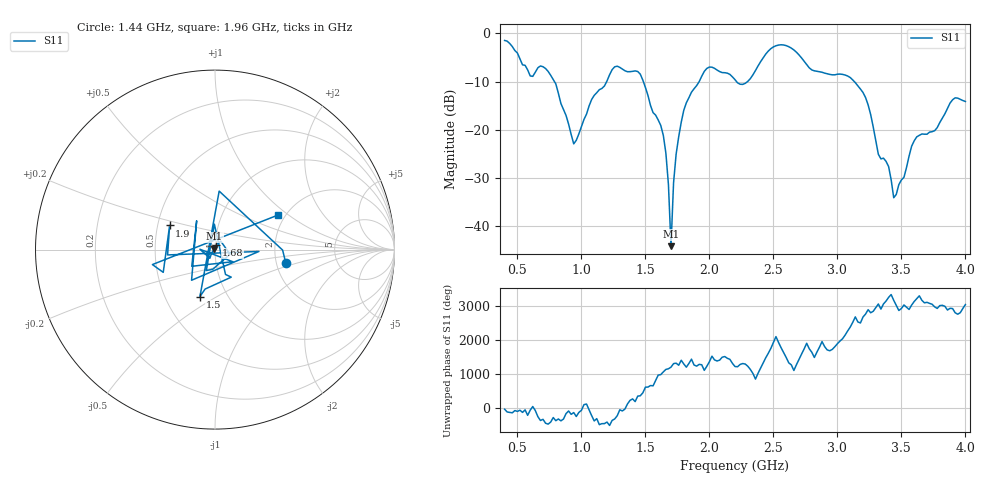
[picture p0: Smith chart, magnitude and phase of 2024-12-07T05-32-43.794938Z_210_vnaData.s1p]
!Created with skrf (http://scikit-rf.org).
# Hz S RI R 50.0
!freq ReS11 ImS11
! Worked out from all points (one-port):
!   181 points, 400 MHz to 4 GHz, reference 50 ohm
!   lowest |S11| = -44.2 dB at 1.7 GHz (marker M1), VSWR 1.01, Z = 49.7 + j0.519 ohm
!   |S11| at or under -10 dB: 789.2 MHz to 1.198 GHz (408.5 MHz wide, 41.1 % of centre); 1.484 GHz to 1.921 GHz (436.9 MHz wide, 25.7 % of centre); 3.132 GHz to end of sweep (the widest 3 of 4)
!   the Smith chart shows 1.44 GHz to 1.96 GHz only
!   S11 on the Smith chart (normalised r, x): 1.44 GHz: 2.25, -0.41; 1.5 GHz: 0.74, -0.42; 1.68 GHz: 1.01, +0.05; 1.9 GHz: 0.58, +0.17; 1.96 GHz: 1.84, +0.85
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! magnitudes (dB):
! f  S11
! 400 MHz  -1.5
! 600 MHz  -8.8
! 740 MHz  -7.9
! 860 MHz  -15.8
! 940 MHz  -22.9
! 1.08 GHz  -13.7
! 1.3 GHz  -7.1
! 1.44 GHz  -7.9
! 1.5 GHz  -11.2
! 1.64 GHz  -21.2
! 1.68 GHz  -31.4
! 1.7 GHz  -44.2
! 1.72 GHz  -31.0
! 1.76 GHz  -21.5
! 1.9 GHz  -10.9
! 1.96 GHz  -7.9
! 2.2 GHz  -9.6
! 2.3 GHz  -10.0
! 2.5 GHz  -2.8
! 2.66 GHz  -3.4
! 3.1 GHz  -9.2
! 3.22 GHz  -13.3
! 3.32 GHz  -25.1
! 3.4 GHz  -27.6
! 3.44 GHz  -34.1
! 3.56 GHz  -25.5
! 3.9 GHz  -13.8
! 4 GHz  -14.1
